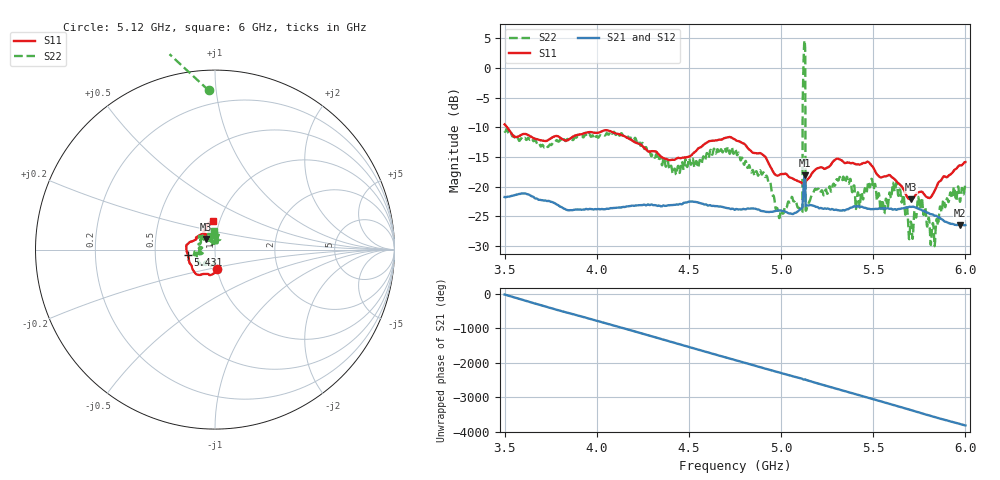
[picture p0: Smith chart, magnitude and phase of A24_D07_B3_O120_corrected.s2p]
! Created with skrf 1.9.0 (http://scikit-rf.org).
# Hz S RI R 50.0
!freq ReS11 ImS11 ReS21 ImS21 ReS12 ImS12 ReS22 ImS22
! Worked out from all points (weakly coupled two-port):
!   1601 points, 3.5 GHz to 6 GHz, reference 50 ohm
!   highest |S21| = -18.12 dB at 5.128 GHz (marker M1); lowest = -26.5 dB at 5.97 GHz (marker M2)
!   lowest |S11| = -22.1 dB at 5.703 GHz (marker M3), VSWR 1.17, Z = 44.8 + j5.29 ohm
!   |S11| at or under -10 dB: 3.514 GHz to end of sweep
!   |S22| runs from -30.0 to 4.6 dB; largest |S21 - S12| = 0.001
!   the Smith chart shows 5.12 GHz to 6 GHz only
!   S11 on the Smith chart (normalised r, x): 5.12 GHz: 1.00, -0.21; 5.431 GHz: 0.74, -0.04; 6 GHz: 0.93, +0.31
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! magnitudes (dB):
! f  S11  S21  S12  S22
! 3.5 GHz  -9.5  -21.8  -21.7  -10.6
! 3.917 GHz  -11.2  -23.9  -23.9  -11.4
! 4.334 GHz  -14.5  -23.2  -23.2  -15.6
! 4.422 GHz  -15.5  -23.1  -23.1  -17.0
! 4.75 GHz  -12.1  -23.9  -23.8  -13.7
! 4.914 GHz  -15.0  -24.2  -24.2  -18.4
! 4.983 GHz  -18.1  -24.1  -24.0  -23.9
! 5.103 GHz  -19.2  -23.9  -23.8  -23.8
! 5.12 GHz  -19.5  -21.2  -21.1  -1.0
! 5.128 GHz  -19.2  -18.1  -18.1  4.6
! 5.145 GHz  -18.7  -23.2  -23.2  -23.1
! 5.167 GHz  -17.8  -23.2  -23.1  -21.4
! 5.328 GHz  -15.6  -24.0  -24.0  -19.1
! 5.431 GHz  -16.3  -23.4  -23.4  -22.0
! 5.484 GHz  -16.2  -23.8  -23.7  -19.8
! 5.584 GHz  -18.0  -23.7  -23.7  -21.7
! 5.636 GHz  -19.4  -23.8  -23.7  -21.5
! 5.703 GHz  -22.1  -23.4  -23.4  -25.9
! 5.752 GHz  -20.9  -23.8  -23.8  -23.5
! 5.823 GHz  -21.2  -24.7  -24.7  -26.1
! 5.97 GHz  -16.4  -26.5  -26.5  -22.6
! 6 GHz  -15.9  -26.5  -26.5  -19.6
